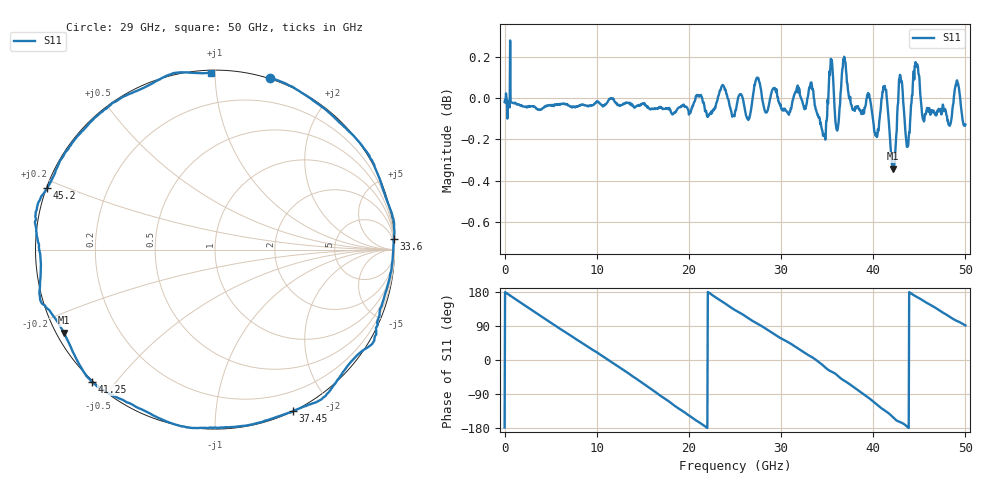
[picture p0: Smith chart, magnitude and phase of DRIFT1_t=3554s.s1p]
!Created with skrf (http://scikit-rf.org).
# Hz S RI R 50.0
!freq ReS11 ImS11
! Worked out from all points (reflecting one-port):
!   1001 points, 300 kHz to 50 GHz, reference 50 ohm
!   lowest |S11| = -0.3 dB at 42.15 GHz (marker M1), VSWR 50.84, Z = 1.05 - j12.8 ohm
!   phase of S11 starts at -178 deg and turns -811 deg over the sweep
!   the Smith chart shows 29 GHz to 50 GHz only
!   S11 on the Smith chart (normalised r, x): 29 GHz: -0.01, +1.37; 33.6 GHz: 0, +32; 37.45 GHz: 0.00, -1.60; 41.25 GHz: -0.00, -0.43; 45.2 GHz: 0.00, +0.18; 50 GHz: 0.01, +0.98
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300000  -0.9974 -0.0326
1.60029e9  -0.8931 0.442
3.40028e9  -0.5597 0.8219
6.250262e9  0.1951 0.9777
9.550243e9  0.889 0.4493
1.115023e10  0.9974 0.0297
1.250022e10  0.9364 -0.3401
1.415022e10  0.6769 -0.7295
1.580021e10  0.2576 -0.9601
1.73002e10  -0.1835 -0.977
1.875019e10  -0.5827 -0.8055
2.170017e10  -0.99 -0.0998
2.345016e10  -0.9247 0.3935
2.500015e10  -0.6588 0.7419
2.725014e10  -0.1478 0.9992
2.900013e10  0.305 0.9566
3.125011e10  0.7679 0.6387
3.36001e10  0.9976 0.0615
3.550009e10  0.8768 -0.5244
3.745008e10  0.4355 -0.8996
3.750008e10  0.4232 -0.907
3.945006e10  -0.157 -0.9906
4.125005e10  -0.6868 -0.7364
4.215005e10  -0.843 -0.4623
4.375004e10  -0.9725 -0.0418
4.520003e10  -0.9367 0.3414
4.770001e10  -0.5418 0.8323
5e10  -0.0234 0.9851
